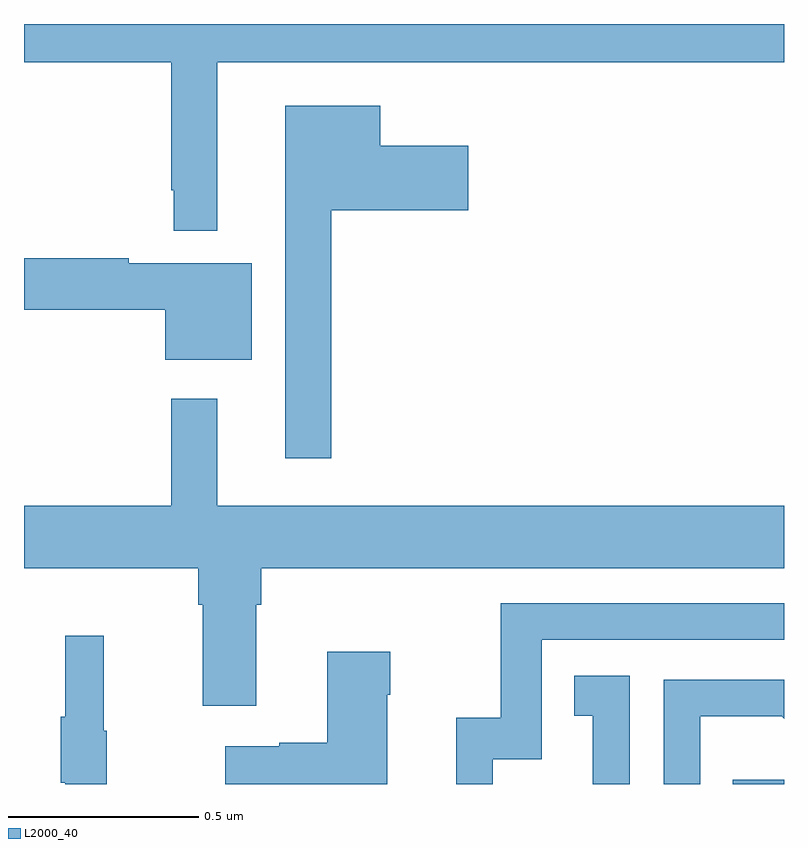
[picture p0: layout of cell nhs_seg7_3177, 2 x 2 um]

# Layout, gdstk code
import gdstk
lib = gdstk.Library(unit=1e-6, precision=1e-09)
def R(c, l, rs):  # rectangles x0, y0, x1, y1
    for r in rs: c.add(gdstk.rectangle(r[:2], r[2:], *l))
def P(c, l, *ps):  # polygons
    for p in ps: c.add(gdstk.Polygon(p, *l))
L2000_40 = (2000, 40)

nhs_seg7_3177 = lib.new_cell('nhs_seg7_3177')
R(nhs_seg7_3177, L2000_40, [(156.865,1048,157,1048.011)])
P(nhs_seg7_3177, L2000_40, [(155.509,1049.9),(157,1049.9),(157,1050),(155,1050),(155,1049.9),(155.388,1049.9),(155.388,1049.563),(155.394,1049.563),(155.394,1049.456),(155.509,1049.456)],
  [(155.809,1049.51),(156.169,1049.51),(156.169,1049.68),(155.938,1049.68),(155.938,1049.785),(155.687,1049.785),(155.687,1048.857),(155.809,1048.857)],
  [(155.599,1049.371),(155.276,1049.371),(155.276,1049.384),(155,1049.384),(155,1049.248),(155.372,1049.248),(155.372,1049.117),(155.599,1049.117)],
  [(155.611,1048.472),(155.624,1048.472),(155.624,1048.568),(157,1048.568),(157,1048.732),(155.509,1048.732),(155.509,1049.014),(155.388,1049.014),(155.388,1048.732),(155,1048.732),(155,1048.568),(155.459,1048.568),(155.459,1048.472),(155.471,1048.472),(155.471,1048.206),(155.611,1048.206)],
  [(156.234,1048.065),(156.363,1048.065),(156.363,1048.38),(157,1048.38),(157,1048.476),(156.255,1048.476),(156.255,1048.174),(156.137,1048.174),(156.137,1048),(156.234,1048)],
  [(155.218,1048.14),(155.21,1048.14),(155.21,1048.39),(155.108,1048.39),(155.108,1048.177),(155.097,1048.177),(155.097,1048.003),(155.108,1048.003),(155.108,1048),(155.218,1048)],
  [(155.956,1048.235),(155.964,1048.235),(155.964,1048.348),(155.798,1048.348),(155.798,1048.109),(155.672,1048.109),(155.672,1048.099),(155.529,1048.099),(155.529,1048),(155.956,1048)],
  [(156.594,1048.285),(156.448,1048.285),(156.448,1048.179),(156.497,1048.179),(156.497,1048),(156.594,1048)],
  [(156.78,1048.178),(156.994,1048.178),(157,1048.172),(157,1048.275),(156.684,1048.275),(156.684,1048),(156.78,1048)])

lib.write_gds('nhs_seg7_3177.gds')
